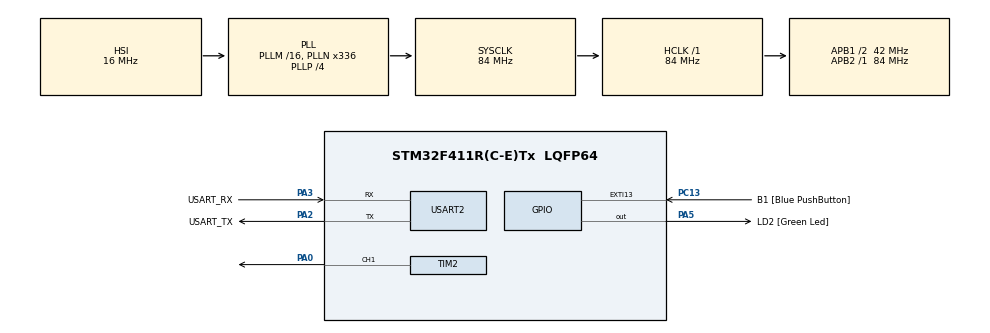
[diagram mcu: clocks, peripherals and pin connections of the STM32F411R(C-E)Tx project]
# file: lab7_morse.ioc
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Mcu.Family=STM32F4
Mcu.Name=STM32F411R(C-E)Tx
Mcu.Package=LQFP64
NVIC.EXTI15_10_IRQn=true\:1\:0\:true\:false\:true\:true\:true\:true
NVIC.PriorityGroup=NVIC_PRIORITYGROUP_2
NVIC.TIM2_IRQn=true\:2\:0\:true\:false\:true\:true\:true\:true
PA0-WKUP.Signal=S_TIM2_CH1_ETR
PA13.GPIO_Label=TMS
PA13.Mode=Serial_Wire
PA13.Signal=SYS_JTMS-SWDIO
PA14.GPIO_Label=TCK
PA14.Mode=Serial_Wire
PA14.Signal=SYS_JTCK-SWCLK
PA2.GPIO_Label=USART_TX
PA2.Mode=Asynchronous
PA2.Signal=USART2_TX
PA3.GPIO_Label=USART_RX
PA3.Mode=Asynchronous
PA3.Signal=USART2_RX
PA5.GPIO_Label=LD2 [Green Led]
PA5.Signal=GPIO_Output
PB3.GPIO_Label=SWO
PB3.Signal=SYS_JTDO-SWO
PC13-ANTI_TAMP.GPIO_Label=B1 [Blue PushButton]
PC13-ANTI_TAMP.GPIO_ModeDefaultEXTI=GPIO_MODE_IT_FALLING
PC13-ANTI_TAMP.Signal=GPXTI13
PC14-OSC32_IN.Mode=LSE-External-Oscillator
PC14-OSC32_IN.Signal=RCC_OSC32_IN
PC15-OSC32_OUT.Mode=LSE-External-Oscillator
PC15-OSC32_OUT.Signal=RCC_OSC32_OUT
PH0\ -\ OSC_IN.Mode=HSE-External-Clock-Source
PH0\ -\ OSC_IN.Signal=RCC_OSC_IN
PH1\ -\ OSC_OUT.Mode=HSE-External-Clock-Source
PH1\ -\ OSC_OUT.Signal=RCC_OSC_OUT
ProjectManager.HeapSize=0x200
ProjectManager.StackSize=0x400
ProjectManager.TargetToolchain=STM32CubeIDE
RCC.48MHZClocksFreq_Value=84000000
RCC.AHBFreq_Value=84000000
RCC.APB1CLKDivider=RCC_HCLK_DIV2
RCC.APB1Freq_Value=42000000
RCC.APB1TimFreq_Value=84000000
RCC.APB2Freq_Value=84000000
RCC.APB2TimFreq_Value=84000000
RCC.CortexFreq_Value=84000000
RCC.FLatency-AdvancedSettings=FLASH_LATENCY_2
RCC.HCLKFreq_Value=84000000
RCC.HSE_VALUE=8000000
RCC.HSI_VALUE=16000000
RCC.PLLN=336
RCC.PLLP=RCC_PLLP_DIV4
RCC.SYSCLKFreq_VALUE=84000000
RCC.SYSCLKSource=RCC_SYSCLKSOURCE_PLLCLK
RCC.VCOOutputFreq_Value=336000000
SH.S_TIM2_CH1_ETR.0=TIM2_CH1,PWM Generation1 CH1
TIM2.Channel-PWM\ Generation1\ CH1=TIM_CHANNEL_1
TIM2.CounterMode=TIM_COUNTERMODE_UP
TIM2.Period=20999999
TIM2.Prescaler=83
TIM2.Pulse-PWM\ Generation1\ CH1=4999999
USART2.VirtualMode=VM_ASYNC
VP_TIM2_VS_ClockSourceINT.Mode=Internal
board=NUCLEO-F411RE

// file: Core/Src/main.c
/* USER CODE BEGIN Header */
/**
  ******************************************************************************
  * @file           : main.c
  * @brief          : Main program body
  ******************************************************************************
  * @attention
  *
  * Copyright (c) 2024 STMicroelectronics.
  * All rights reserved.
  *
  * This software is licensed under terms that can be found in the LICENSE file
  * in the root directory of this software component.
  * If no LICENSE file comes with this software, it is provided AS-IS.
  *
  ******************************************************************************
  */
/* USER CODE END Header */
#include "main.h"

TIM_HandleTypeDef htim2;

UART_HandleTypeDef huart2;

void SystemClock_Config(void);
static void MX_GPIO_Init(void);
static void MX_USART2_UART_Init(void);
static void MX_TIM2_Init(void);

/* USER CODE BEGIN 0 */
void sos();
int reset = 0;
int pause = 0;

/* USER CODE END 0 */

int main(void)
{

  /* MCU Configuration--------------------------------------------------------*/

  /* Reset of all peripherals, Initializes the Flash interface and the Systick. */
  HAL_Init();

  /* Configure the system clock */
  SystemClock_Config();

  /* Initialize all configured peripherals */
  MX_GPIO_Init();
  MX_USART2_UART_Init();
  MX_TIM2_Init();
  /* USER CODE BEGIN 2 */

  HAL_TIM_PWM_Start_IT(&htim2, TIM_CHANNEL_1);
  HAL_TIM_Base_Start_IT (&htim2);

  /* USER CODE END 2 */

  /* Infinite loop */
  while (1)
  {

    /* USER CODE BEGIN 3 */

	reset = 0;

	if (!pause) {
		sos();
	}
  }
  /* USER CODE END 3 */
}

void SystemClock_Config(void)
{
  RCC_OscInitTypeDef RCC_OscInitStruct = {0};
  RCC_ClkInitTypeDef RCC_ClkInitStruct = {0};

  /** Configure the main internal regulator output voltage
  */
  __HAL_RCC_PWR_CLK_ENABLE();
  __HAL_PWR_VOLTAGESCALING_CONFIG(PWR_REGULATOR_VOLTAGE_SCALE1);

  /** Initializes the RCC Oscillators according to the specified parameters
  * in the RCC_OscInitTypeDef structure.
  */
  RCC_OscInitStruct.OscillatorType = RCC_OSCILLATORTYPE_HSI;
  RCC_OscInitStruct.HSIState = RCC_HSI_ON;
  RCC_OscInitStruct.HSICalibrationValue = RCC_HSICALIBRATION_DEFAULT;
  RCC_OscInitStruct.PLL.PLLState = RCC_PLL_ON;
  RCC_OscInitStruct.PLL.PLLSource = RCC_PLLSOURCE_HSI;
  RCC_OscInitStruct.PLL.PLLM = 16;
  RCC_OscInitStruct.PLL.PLLN = 336;
  RCC_OscInitStruct.PLL.PLLP = RCC_PLLP_DIV4;
  RCC_OscInitStruct.PLL.PLLQ = 4;
  if (HAL_RCC_OscConfig(&RCC_OscInitStruct) != HAL_OK)
  {
    Error_Handler();
  }

  /** Initializes the CPU, AHB and APB buses clocks
  */
  RCC_ClkInitStruct.ClockType = RCC_CLOCKTYPE_HCLK|RCC_CLOCKTYPE_SYSCLK
                              |RCC_CLOCKTYPE_PCLK1|RCC_CLOCKTYPE_PCLK2;
  RCC_ClkInitStruct.SYSCLKSource = RCC_SYSCLKSOURCE_PLLCLK;
  RCC_ClkInitStruct.AHBCLKDivider = RCC_SYSCLK_DIV1;
  RCC_ClkInitStruct.APB1CLKDivider = RCC_HCLK_DIV2;
  RCC_ClkInitStruct.APB2CLKDivider = RCC_HCLK_DIV1;

  if (HAL_RCC_ClockConfig(&RCC_ClkInitStruct, FLASH_LATENCY_2) != HAL_OK)
  {
    Error_Handler();
  }
}

static void MX_TIM2_Init(void)
{

  TIM_ClockConfigTypeDef sClockSourceConfig = {0};
  TIM_MasterConfigTypeDef sMasterConfig = {0};
  TIM_OC_InitTypeDef sConfigOC = {0};

  htim2.Instance = TIM2;
  htim2.Init.Prescaler = 83;
  htim2.Init.CounterMode = TIM_COUNTERMODE_UP;
  htim2.Init.Period = 20999999;
  htim2.Init.ClockDivision = TIM_CLOCKDIVISION_DIV1;
  htim2.Init.AutoReloadPreload = TIM_AUTORELOAD_PRELOAD_DISABLE;
  if (HAL_TIM_Base_Init(&htim2) != HAL_OK)
  {
    Error_Handler();
  }
  sClockSourceConfig.ClockSource = TIM_CLOCKSOURCE_INTERNAL;
  if (HAL_TIM_ConfigClockSource(&htim2, &sClockSourceConfig) != HAL_OK)
  {
    Error_Handler();
  }
  if (HAL_TIM_PWM_Init(&htim2) != HAL_OK)
  {
    Error_Handler();
  }
  sMasterConfig.MasterOutputTrigger = TIM_TRGO_RESET;
  sMasterConfig.MasterSlaveMode = TIM_MASTERSLAVEMODE_DISABLE;
  if (HAL_TIMEx_MasterConfigSynchronization(&htim2, &sMasterConfig) != HAL_OK)
  {
    Error_Handler();
  }
  sConfigOC.OCMode = TIM_OCMODE_PWM1;
  sConfigOC.Pulse = 4999999;
  sConfigOC.OCPolarity = TIM_OCPOLARITY_HIGH;
  sConfigOC.OCFastMode = TIM_OCFAST_DISABLE;
  if (HAL_TIM_PWM_ConfigChannel(&htim2, &sConfigOC, TIM_CHANNEL_1) != HAL_OK)
  {
    Error_Handler();
  }
  HAL_TIM_MspPostInit(&htim2);

}

static void MX_USART2_UART_Init(void)
{

  huart2.Instance = USART2;
  huart2.Init.BaudRate = 115200;
  huart2.Init.WordLength = UART_WORDLENGTH_8B;
  huart2.Init.StopBits = UART_STOPBITS_1;
  huart2.Init.Parity = UART_PARITY_NONE;
  huart2.Init.Mode = UART_MODE_TX_RX;
  huart2.Init.HwFlowCtl = UART_HWCONTROL_NONE;
  huart2.Init.OverSampling = UART_OVERSAMPLING_16;
  if (HAL_UART_Init(&huart2) != HAL_OK)
  {
    Error_Handler();
  }

}

static void MX_GPIO_Init(void)
{
  GPIO_InitTypeDef GPIO_InitStruct = {0};

  /* GPIO Ports Clock Enable */
  __HAL_RCC_GPIOC_CLK_ENABLE();
  __HAL_RCC_GPIOH_CLK_ENABLE();
  __HAL_RCC_GPIOA_CLK_ENABLE();
  __HAL_RCC_GPIOB_CLK_ENABLE();

  /*Configure GPIO pin Output Level */
  HAL_GPIO_WritePin(LD2_GPIO_Port, LD2_Pin, GPIO_PIN_RESET);

  /*Configure GPIO pin : B1_Pin */
  GPIO_InitStruct.Pin = B1_Pin;
  GPIO_InitStruct.Mode = GPIO_MODE_IT_FALLING;
  GPIO_InitStruct.Pull = GPIO_NOPULL;
  HAL_GPIO_Init(B1_GPIO_Port, &GPIO_InitStruct);

  /*Configure GPIO pin : LD2_Pin */
  GPIO_InitStruct.Pin = LD2_Pin;
  GPIO_InitStruct.Mode = GPIO_MODE_OUTPUT_PP;
  GPIO_InitStruct.Pull = GPIO_NOPULL;
  GPIO_InitStruct.Speed = GPIO_SPEED_FREQ_LOW;
  HAL_GPIO_Init(LD2_GPIO_Port, &GPIO_InitStruct);

  /* EXTI interrupt init*/
  HAL_NVIC_SetPriority(EXTI15_10_IRQn, 1, 0);
  HAL_NVIC_EnableIRQ(EXTI15_10_IRQn);

}

/* USER CODE BEGIN 4 */

void sos() {

	//	S
	HAL_GPIO_TogglePin(LD2_GPIO_Port, LD2_Pin);
	HAL_Delay(300);
	HAL_GPIO_WritePin(LD2_GPIO_Port, LD2_Pin, GPIO_PIN_RESET);
	if (reset) return;

	HAL_Delay(300);

	HAL_GPIO_TogglePin(LD2_GPIO_Port, LD2_Pin);
	HAL_Delay(300);
	HAL_GPIO_WritePin(LD2_GPIO_Port, LD2_Pin, GPIO_PIN_RESET);
	if (reset) return;

	HAL_Delay(300);

	HAL_GPIO_TogglePin(LD2_GPIO_Port, LD2_Pin);
	HAL_Delay(300);
	HAL_GPIO_WritePin(LD2_GPIO_Port, LD2_Pin, GPIO_PIN_RESET);
	if (reset) return;

	HAL_Delay(900);

	// O
	HAL_GPIO_TogglePin(LD2_GPIO_Port, LD2_Pin);
	HAL_Delay(900);
	HAL_GPIO_WritePin(LD2_GPIO_Port, LD2_Pin, GPIO_PIN_RESET);
	if (reset) return;

	HAL_Delay(300);

	HAL_GPIO_TogglePin(LD2_GPIO_Port, LD2_Pin);
	HAL_Delay(900);
	HAL_GPIO_WritePin(LD2_GPIO_Port, LD2_Pin, GPIO_PIN_RESET);
	if (reset) return;

	HAL_Delay(300);

	HAL_GPIO_TogglePin(LD2_GPIO_Port, LD2_Pin);
	HAL_Delay(900);
	HAL_GPIO_WritePin(LD2_GPIO_Port, LD2_Pin, GPIO_PIN_RESET);
	if (reset) return;

	HAL_Delay(900);

	//	S
	HAL_GPIO_TogglePin(LD2_GPIO_Port, LD2_Pin);
	HAL_Delay(300);
	HAL_GPIO_WritePin(LD2_GPIO_Port, LD2_Pin, GPIO_PIN_RESET);
	if (reset) return;

	HAL_Delay(300);

	HAL_GPIO_TogglePin(LD2_GPIO_Port, LD2_Pin);
	HAL_Delay(300);
	HAL_GPIO_WritePin(LD2_GPIO_Port, LD2_Pin, GPIO_PIN_RESET);
	if (reset) return;

	HAL_Delay(300);

	HAL_GPIO_TogglePin(LD2_GPIO_Port, LD2_Pin);
	HAL_Delay(300);
	HAL_GPIO_WritePin(LD2_GPIO_Port, LD2_Pin, GPIO_PIN_RESET);

	HAL_Delay(3000);
	return;
}

void HAL_GPIO_EXTI_Callback(uint16_t GPIO_Pin)
{
	HAL_GPIO_WritePin(LD2_GPIO_Port, LD2_Pin, GPIO_PIN_RESET);

	reset = 1;
	HAL_Delay(3000);
}

void HAL_TIM_PeriodElapsedCallback(TIM_HandleTypeDef *htim) {
	if (htim == &htim2 ) {
		HAL_GPIO_WritePin(LD2_GPIO_Port, LD2_Pin, GPIO_PIN_RESET);
	    pause = 1;
	    reset = 1;
	}
}

void HAL_TIM_PWM_PulseFinishedCallback(TIM_HandleTypeDef *htim) {
	if (htim == &htim2 ) {
	    pause = 0;
	    reset = 1;
	}
}

/* USER CODE END 4 */

void Error_Handler(void)
{
  __disable_irq();
  while (1)
  {
  }
}
